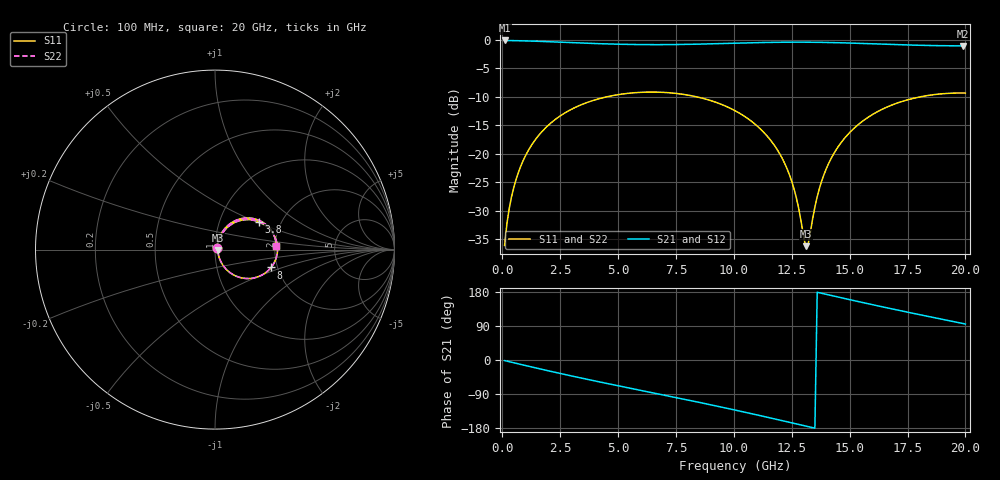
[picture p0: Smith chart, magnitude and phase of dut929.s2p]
! Touchstone file exported from HFSS 2026.1.0
!  File:  C:/ffzhzh/LocalFiles/Ansys_Project_Files/temp_train_TSV_RDL_929_1783280387_5512.aedt
!  Generated:  03:49:33 AM Jul  6, 2026
!  Design:  TSV_RDL
!  Project:  temp_train_TSV_RDL_929_1783280387_5512
! Variables:
!  h_bsmrdl = 5.56um
!  h_ox = 20um
!  h_rdl = 5um
!  h_sub = 60.93um
!  h_tmrdl = 5.83um
!  h_tsv = 60.93um
!  h_via = 3um
!  l_bsmrdl = 324.95um
!  l_sub = 4741.51um
!  l_tmrdl = 801.3um
!  m_sub = 200um
!  pitch = 45.09um
!  r_tsv = 11.2um
!  s_tmrdl = 10um
!  w_bsmrdl = 26.65um
!  w_sub = 500um
!  w_tmrdl = 27.17um
!  x_tsv_center1 = 814.885um
!  x_tsv_center2 = 1166.485um
!  x_tsv_center3 = 1994.955um
!  x_tsv_center4 = 2346.555um
!  x_tsv_center5 = 3175.025um
!  x_tsv_center6 = 3526.625um
# GHz S MA R 50.000000
! Terminal data exported
! Port[1] = TM_RDL1_1_T1
! Port[2] = TM_RDL5_1_T1
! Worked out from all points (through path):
!   200 points, 100 MHz to 20 GHz, reference 50 ohm
!   highest |S21| = -0.10 dB at 100 MHz (marker M1); lowest = -1.0 dB at 19.9 GHz (marker M2)
!   group delay of S21, straight-line fit = 36.8 ps
!   lowest |S11| = -36.2 dB at 13.1 GHz (marker M3), VSWR 1.03, Z = 51.5 - j0.307 ohm
!   |S11| at or under -10 dB: start of sweep to 4.5 GHz; 8.402 GHz to 18.04 GHz (9.64 GHz wide, 72.9 % of centre)
!   |S22| runs from -36.2 to -9.2 dB; largest |S21 - S12| = 1.7e-14
!   S11 on the Smith chart (normalised r, x): 100 MHz: 1.02, +0.02; 3.8 GHz: 1.53, +0.52; 8 GHz: 1.85, -0.41; 20 GHz: 2.03, +0.09
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0.1  0.01572 43.3  0.9888 -1.5  0.9888 -1.5  0.01572 43.3
! Gamma 0 0 0 0
! Port Impedance 50 0 50 0
0.3  0.03322 62.3  0.9865 -4.5  0.9865 -4.5  0.03322 62.3
0.5  0.05108 66.7  0.9849 -7.4  0.9849 -7.4  0.05108 66.7
1.1  0.1049 65.3  0.9787 -16.0  0.9787 -16.0  0.1049 65.3
2.1  0.1867 54.0  0.9627 -30.1  0.9627 -30.1  0.1867 54.0
3.5  0.2744 36.4  0.9372 -48.8  0.9372 -48.8  0.2744 36.4
3.8  0.2888 32.7  0.9322 -52.7  0.9322 -52.7  0.2888 32.7
6.8  0.3475 -3.3  0.9085 -90.4  0.9085 -90.4  0.3475 -3.3
8  0.3282 -17.6  0.9138 -105.4  0.9138 -105.4  0.3282 -17.6
10.1  0.2363 -42.9  0.9362 -132.7  0.9362 -132.7  0.2363 -42.9
11.3  0.1539 -56.8  0.9489 -149.0  0.9489 -149.0  0.1539 -56.8
12.1  0.09038 -63.7  0.9541 -160.2  0.9541 -160.2  0.09039 -63.7
12.6  0.0492 -62.3  0.9554 -167.2  0.9554 -167.2  0.04922 -62.2
13.1  0.01548 -11.1  0.955 -174.2  0.955 -174.2  0.01555 -11.0
13.2  0.01578 19.6  0.9547 -175.6  0.9547 -175.6  0.01585 19.6
13.4  0.02672 54.8  0.9539 -178.5  0.9539 -178.5  0.02677 54.7
13.8  0.05825 68.6  0.9514 175.9  0.9514 175.9  0.05828 68.5
14.5  0.1151 66.5  0.9449 166.2  0.9449 166.2  0.1151 66.5
15.4  0.1825 57.4  0.9331 153.8  0.9331 153.8  0.1826 57.3
16.7  0.2619 42.1  0.9136 136.5  0.9136 136.5  0.2619 42.1
19.9  0.3419 4.4  0.8869 96.2  0.8869 96.2  0.3419 4.4
20  0.3416 3.3  0.887 95.0  0.887 95.0  0.3416 3.3
